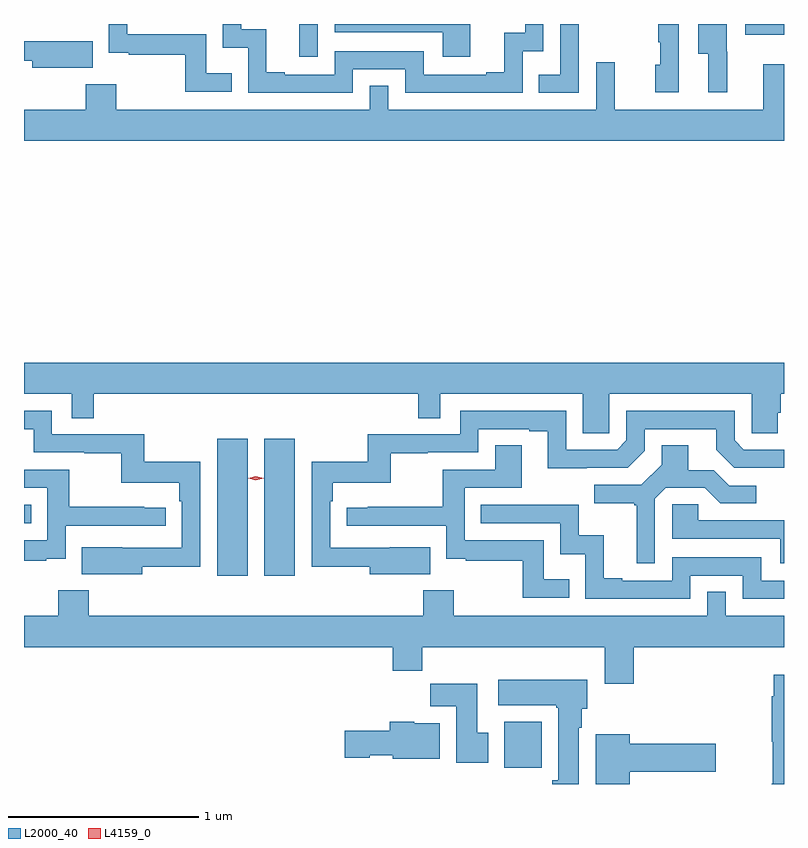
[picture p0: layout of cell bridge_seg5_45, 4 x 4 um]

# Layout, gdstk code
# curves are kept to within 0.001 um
import gdstk
lib = gdstk.Library(unit=1e-6, precision=1e-09)
def R(c, l, rs):  # rectangles x0, y0, x1, y1
    for r in rs: c.add(gdstk.rectangle(r[:2], r[2:], *l))
def P(c, l, *ps):  # polygons
    for p in ps: c.add(gdstk.Polygon(p, *l))
L2000_40 = (2000, 40)
L4159_0 = (4159, 0)

bridge_seg5_45 = lib.new_cell('bridge_seg5_45')
R(bridge_seg5_45, L2000_40, [(857.261,909.404,857.458,909.646), (855.749,910.416,855.91,911.137), (855.998,910.416,856.159,911.137), (854.733,910.692,854.771,910.788), (856.181,913.146,856.278,913.319), (858.529,913.262,858.733,913.319)])
P(bridge_seg5_45, L2000_40, [(857.652,913.319),(857.556,913.319),(857.556,913.053),(857.443,913.053),(857.443,912.957),(857.652,912.957)],
  [(858.434,913.173),(858.432,913.173),(858.432,913.319),(858.336,913.319),(858.336,913.317),(858.281,913.317),(858.281,913.162),(858.335,913.162),(858.335,912.96),(858.434,912.96)],
  [(858.18,913.319),(858.072,913.319),(858.072,913.223),(858.082,913.223),(858.082,913.104),(858.056,913.104),(858.056,912.96),(858.18,912.96)],
  [(855.827,913.06),(855.693,913.06),(855.693,913.266),(855.276,913.266),(855.276,913.319),(855.18,913.319),(855.18,913.169),(855.283,913.169),(855.283,913.158),(855.582,913.158),(855.582,912.963),(855.827,912.963)],
  [(857.081,913.319),(856.368,913.319),(856.368,913.275),(856.937,913.275),(856.937,913.146),(857.081,913.146)],
  [(856.464,913.08),(856.74,913.08),(856.74,912.957),(857.358,912.957),(857.358,913.176),(857.466,913.176),(857.466,913.319),(857.37,913.319),(857.37,913.274),(857.261,913.274),(857.261,913.066),(857.165,913.066),(857.165,913.053),(856.836,913.053),(856.836,913.176),(856.368,913.176),(856.368,913.053),(856.105,913.053),(856.105,913.066),(856.009,913.066),(856.009,913.291),(855.876,913.291),(855.876,913.319),(855.78,913.319),(855.78,913.193),(855.912,913.193),(855.912,912.957),(856.464,912.957)],
  [(855.095,913.228),(854.881,913.228),(854.881,913.227),(854.733,913.227),(854.733,913.126),(854.777,913.126),(854.777,913.088),(855.095,913.088)],
  [(858.733,913.108),(858.623,913.108),(858.623,912.868),(857.843,912.868),(857.843,913.117),(857.745,913.117),(857.745,912.868),(856.65,912.868),(856.65,912.995),(856.554,912.995),(856.554,912.868),(855.219,912.868),(855.219,913.003),(855.059,913.003),(855.059,912.868),(854.733,912.868),(854.733,912.704),(858.733,912.704)],
  [(857.814,911.372),(858.564,911.372),(858.564,911.164),(858.701,911.164),(858.701,911.274),(858.716,911.274),(858.716,911.372),(858.733,911.372),(858.733,911.536),(854.733,911.536),(854.733,911.372),(854.985,911.372),(854.985,911.245),(855.101,911.245),(855.101,911.372),(856.807,911.372),(856.807,911.245),(856.923,911.245),(856.923,911.372),(857.675,911.372),(857.675,911.164),(857.814,911.164)],
  [(855.355,910.462),(855.66,910.462),(855.66,911.014),(855.367,911.014),(855.367,911.16),(854.88,911.16),(854.88,911.283),(854.733,911.283),(854.733,911.187),(854.784,911.187),(854.784,911.064),(855.049,911.064),(855.049,911.059),(855.246,911.059),(855.246,910.904),(855.551,910.904),(855.551,910.808),(855.564,910.808),(855.564,910.563),(855.251,910.563),(855.251,910.564),(855.037,910.564),(855.037,910.424),(855.355,910.424)],
  [(856.871,910.564),(856.344,910.563),(856.344,910.808),(856.358,910.808),(856.358,910.904),(856.663,910.904),(856.663,911.059),(856.859,911.059),(856.859,911.064),(857.124,911.064),(857.124,911.187),(857.393,911.187),(857.393,911.175),(857.489,911.175),(857.489,910.982),(857.91,910.983),(858,911.073),(858,911.187),(858.377,911.187),(858.377,911.077),(858.471,910.983),(858.733,910.983),(858.733,911.079),(858.522,911.079),(858.474,911.127),(858.474,911.283),(857.904,911.283),(857.904,911.127),(857.856,911.079),(857.586,911.079),(857.586,911.283),(857.028,911.283),(857.028,911.16),(856.542,911.16),(856.542,911.014),(856.248,911.014),(856.248,910.462),(856.553,910.462),(856.553,910.424),(856.871,910.424)],
  [(858.054,910.821),(858.111,910.878),(858.317,910.878),(858.398,910.797),(858.586,910.797),(858.586,910.89),(858.444,910.89),(858.364,910.97),(858.229,910.97),(858.229,911.102),(858.089,911.102),(858.089,911),(857.982,910.893),(857.733,910.893),(857.733,910.796),(857.946,910.796),(857.946,910.785),(857.957,910.785),(857.957,910.482),(858.054,910.482)],
  [(857.603,910.396),(857.469,910.396),(857.469,910.602),(857.052,910.602),(857.052,910.878),(857.353,910.878),(857.353,911.102),(857.213,911.102),(857.213,910.974),(856.936,910.974),(856.936,910.778),(856.543,910.778),(856.543,910.773),(856.431,910.773),(856.431,910.677),(856.956,910.677),(856.956,910.505),(857.059,910.505),(857.059,910.494),(857.358,910.494),(857.358,910.299),(857.603,910.299)],
  [(854.849,910.505),(854.952,910.505),(854.952,910.677),(855.478,910.677),(855.478,910.773),(855.365,910.773),(855.365,910.778),(854.972,910.778),(854.972,910.974),(854.733,910.974),(854.733,910.878),(854.856,910.878),(854.856,910.602),(854.733,910.602),(854.733,910.494),(854.849,910.494)],
  [(858.733,910.707),(858.281,910.707),(858.281,910.791),(858.144,910.791),(858.144,910.611),(858.713,910.611),(858.713,910.482),(858.733,910.482)],
  [(858.24,910.416),(858.516,910.416),(858.516,910.293),(858.733,910.293),(858.733,910.389),(858.612,910.389),(858.612,910.512),(858.144,910.512),(858.144,910.389),(857.881,910.389),(857.881,910.402),(857.785,910.402),(857.785,910.627),(857.652,910.627),(857.652,910.788),(857.137,910.788),(857.137,910.692),(857.556,910.692),(857.556,910.529),(857.688,910.529),(857.688,910.293),(858.24,910.293)],
  [(857.942,910.04),(858.733,910.04),(858.733,910.204),(858.426,910.204),(858.426,910.331),(858.33,910.331),(858.33,910.204),(856.995,910.204),(856.995,910.339),(856.835,910.339),(856.835,910.204),(855.074,910.204),(855.074,910.339),(854.914,910.339),(854.914,910.204),(854.733,910.204),(854.733,910.04),(856.673,910.04),(856.673,909.916),(856.829,909.916),(856.829,910.04),(857.789,910.04),(857.789,909.846),(857.942,909.846)],
  [(858.733,909.895),(858.68,909.895),(858.68,909.782),(858.668,909.782),(858.668,909.542),(858.673,909.542),(858.673,909.32),(858.668,909.32),(858.668,909.319),(858.733,909.319)],
  [(857.653,909.614),(857.668,909.614),(857.668,909.714),(857.698,909.714),(857.698,909.868),(857.229,909.868),(857.229,909.734),(857.533,909.734),(857.533,909.721),(857.546,909.721),(857.546,909.338),(857.513,909.338),(857.513,909.319),(857.653,909.319)],
  [(857.176,909.588),(857.119,909.588),(857.119,909.847),(856.87,909.847),(856.87,909.728),(857.009,909.728),(857.009,909.432),(857.176,909.432)],
  [(856.921,909.64),(856.788,909.64),(856.788,909.646),(856.658,909.646),(856.658,909.6),(856.422,909.6),(856.422,909.458),(856.554,909.458),(856.554,909.47),(856.674,909.47),(856.674,909.452),(856.921,909.452)],
  [(857.92,909.383),(858.373,909.383),(858.373,909.53),(857.92,909.53),(857.92,909.58),(857.741,909.58),(857.741,909.319),(857.92,909.319)])
P(bridge_seg5_45, L4159_0, [(855.954,910.919),(855.914,910.929),(855.914,910.929),(855.914,910.929),(855.954,910.939),(855.994,910.929),(855.994,910.929),(855.994,910.929)])

lib.write_gds('bridge_seg5_45.gds')
